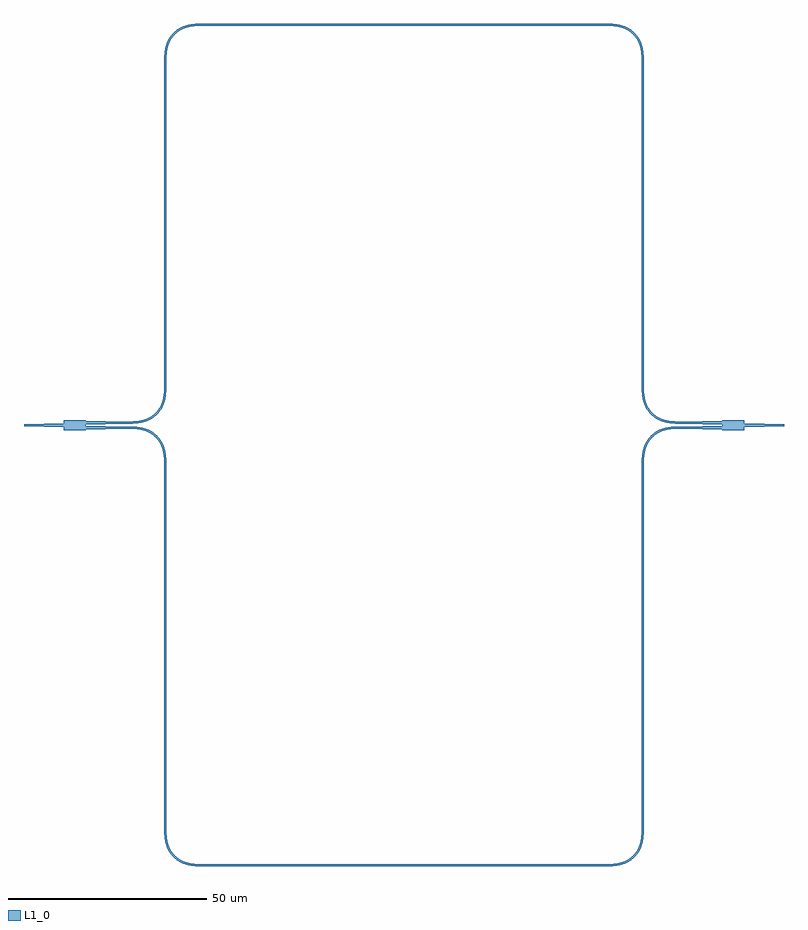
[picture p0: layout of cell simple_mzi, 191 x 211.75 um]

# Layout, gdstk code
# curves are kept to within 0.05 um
from math import pi, radians
import gdstk
lib = gdstk.Library(unit=1e-6, precision=1e-09)
def R(c, l, rs):  # rectangles x0, y0, x1, y1
    for r in rs: c.add(gdstk.rectangle(r[:2], r[2:], *l))
def P(c, l, *ps):  # polygons
    for p in ps: c.add(gdstk.Polygon(p, *l))
L1_0 = (1, 0)

mmi1x2_gdsfactorypcompon = lib.new_cell('mmi1x2_gdsfactorypcomponentspmmispmmi1x2_WNone_WT1_LT10_1f097353')
P(mmi1x2_gdsfactorypcompon, L1_0, [(0,-1.25),(0,-0.5),(-10,-0.25),(-10,0.25),(0,0.5),(0,1.25),(5.5,1.25),(5.5,1.125),(15.5,0.875),(15.5,0.375),(5.5,0.125),(5.5,-0.125),(15.5,-0.375),(15.5,-0.875),(5.5,-1.125),(5.5,-1.25)])

bend_euler_gdsfactorypco = lib.new_cell('bend_euler_gdsfactorypcomponentspbendspbend_euler_RNone_387600b2')
P(bend_euler_gdsfactorypco, L1_0, [(0,-0.25),(0,0.25),(2.881,0.353),(3.952,0.52),(4.99,0.806),(6.431,1.505),(7.575,2.425),(8.495,3.569),(9.194,5.01),(9.48,6.048),(9.647,7.119),(9.75,10),(10.25,10),(10.158,7.205),(9.797,5.254),(9.457,4.312),(9.066,3.545),(8.5,2.715),(7.928,2.072),(7.285,1.5),(6.455,0.934),(5.688,0.543),(4.746,0.203),(2.795,-0.158)])

straight_gdsfactorypcomp = lib.new_cell('straight_gdsfactorypcomponentspwaveguidespstraight_L80__2dddf9c8')
R(straight_gdsfactorypcomp, L1_0, [(0,-0.25,80,0.25)])

c_straight_gdsfactorypcomp = lib.new_cell('straight_gdsfactorypcomponentspwaveguidespstraight_L90__0410c817')
R(c_straight_gdsfactorypcomp, L1_0, [(0,-0.25,90,0.25)])

c_straight_gdsfactorypcomp_ = lib.new_cell('straight_gdsfactorypcomponentspwaveguidespstraight_L100_fb22af26')
R(c_straight_gdsfactorypcomp_, L1_0, [(0,-0.25,100,0.25)])

simple_mzi = lib.new_cell('simple_mzi')
simple_mzi.add(gdstk.Reference(mmi1x2_gdsfactorypcompon, (0,0)))
simple_mzi.add(gdstk.Reference(bend_euler_gdsfactorypco, (15.5,-0.625), x_reflection=True))
simple_mzi.add(gdstk.Reference(bend_euler_gdsfactorypco, (25.5,-100.625), rotation=3*pi/2))
simple_mzi.add(gdstk.Reference(bend_euler_gdsfactorypco, (15.5,0.625)))
simple_mzi.add(gdstk.Reference(bend_euler_gdsfactorypco, (35.5,100.625), rotation=pi))
simple_mzi.add(gdstk.Reference(bend_euler_gdsfactorypco, (145.5,90.625), rotation=pi/2))
simple_mzi.add(gdstk.Reference(bend_euler_gdsfactorypco, (145.5,10.625), rotation=3*pi/2))
simple_mzi.add(gdstk.Reference(bend_euler_gdsfactorypco, (135.5,-110.625)))
simple_mzi.add(gdstk.Reference(bend_euler_gdsfactorypco, (155.5,-0.625), rotation=pi))
simple_mzi.add(gdstk.Reference(straight_gdsfactorypcomp, (25.5,10.625), rotation=pi/2))
simple_mzi.add(gdstk.Reference(c_straight_gdsfactorypcomp, (25.5,-10.625), rotation=3*pi/2))
simple_mzi.add(gdstk.Reference(c_straight_gdsfactorypcomp_, (35.5,100.625)))
simple_mzi.add(gdstk.Reference(c_straight_gdsfactorypcomp_, (35.5,-110.625)))
simple_mzi.add(gdstk.Reference(mmi1x2_gdsfactorypcompon, (171,0), rotation=pi, x_reflection=True))
simple_mzi.add(gdstk.Reference(straight_gdsfactorypcomp, (145.5,10.625), rotation=pi/2))
simple_mzi.add(gdstk.Reference(c_straight_gdsfactorypcomp, (145.5,-100.625), rotation=pi/2))

lib.write_gds('simple_mzi.gds')
